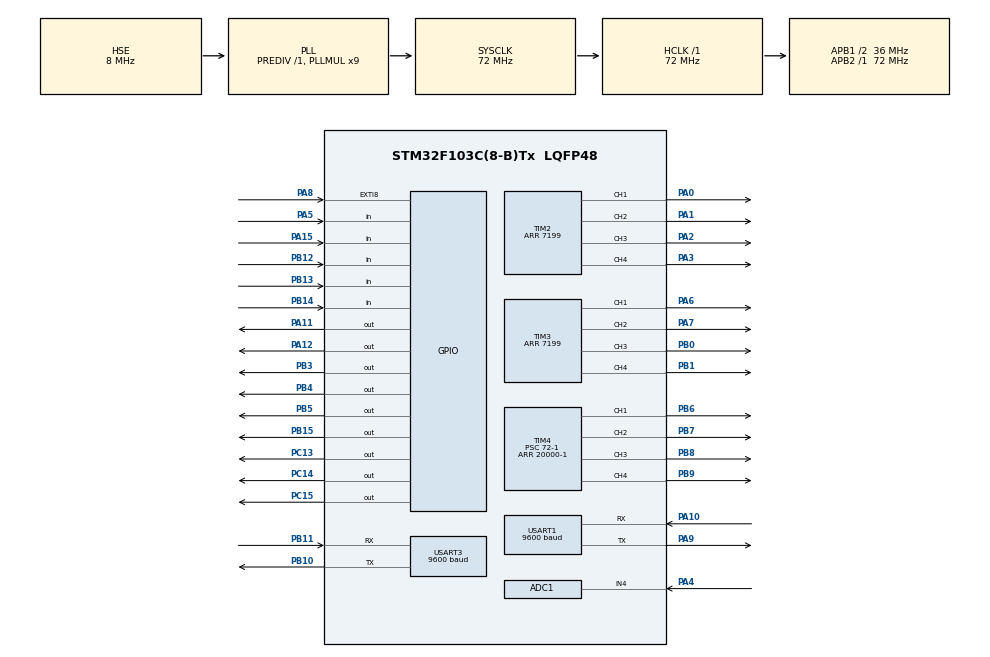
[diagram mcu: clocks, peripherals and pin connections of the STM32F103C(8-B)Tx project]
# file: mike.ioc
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ADC1.Channel-2\#ChannelRegularConversion=ADC_CHANNEL_4
ADC1.NbrOfConversionFlag=1
ADC1.Rank-2\#ChannelRegularConversion=1
ADC1.SamplingTime-2\#ChannelRegularConversion=ADC_SAMPLETIME_1CYCLE_5
ADC1.master=1
Dma.ADC1.2.Direction=DMA_PERIPH_TO_MEMORY
Dma.ADC1.2.Instance=DMA1_Channel1
Dma.ADC1.2.MemDataAlignment=DMA_MDATAALIGN_HALFWORD
Dma.ADC1.2.MemInc=DMA_MINC_ENABLE
Dma.ADC1.2.Mode=DMA_NORMAL
Dma.ADC1.2.PeriphDataAlignment=DMA_PDATAALIGN_HALFWORD
Dma.ADC1.2.PeriphInc=DMA_PINC_DISABLE
Dma.ADC1.2.Priority=DMA_PRIORITY_LOW
Dma.Request0=USART3_RX
Dma.Request1=USART3_TX
Dma.Request2=ADC1
Dma.Request3=USART1_RX
Dma.Request4=USART1_TX
Dma.USART1_RX.3.Direction=DMA_PERIPH_TO_MEMORY
Dma.USART1_RX.3.Instance=DMA1_Channel5
Dma.USART1_RX.3.MemDataAlignment=DMA_MDATAALIGN_BYTE
Dma.USART1_RX.3.MemInc=DMA_MINC_ENABLE
Dma.USART1_RX.3.Mode=DMA_NORMAL
Dma.USART1_RX.3.PeriphDataAlignment=DMA_PDATAALIGN_BYTE
Dma.USART1_RX.3.PeriphInc=DMA_PINC_DISABLE
Dma.USART1_RX.3.Priority=DMA_PRIORITY_LOW
Dma.USART1_TX.4.Direction=DMA_MEMORY_TO_PERIPH
Dma.USART1_TX.4.Instance=DMA1_Channel4
Dma.USART1_TX.4.MemDataAlignment=DMA_MDATAALIGN_BYTE
Dma.USART1_TX.4.MemInc=DMA_MINC_ENABLE
Dma.USART1_TX.4.Mode=DMA_NORMAL
Dma.USART1_TX.4.PeriphDataAlignment=DMA_PDATAALIGN_BYTE
Dma.USART1_TX.4.PeriphInc=DMA_PINC_DISABLE
Dma.USART1_TX.4.Priority=DMA_PRIORITY_LOW
Dma.USART3_RX.0.Direction=DMA_PERIPH_TO_MEMORY
Dma.USART3_RX.0.Instance=DMA1_Channel3
Dma.USART3_RX.0.MemDataAlignment=DMA_MDATAALIGN_BYTE
Dma.USART3_RX.0.MemInc=DMA_MINC_ENABLE
Dma.USART3_RX.0.Mode=DMA_NORMAL
Dma.USART3_RX.0.PeriphDataAlignment=DMA_PDATAALIGN_BYTE
Dma.USART3_RX.0.PeriphInc=DMA_PINC_DISABLE
Dma.USART3_RX.0.Priority=DMA_PRIORITY_VERY_HIGH
Dma.USART3_TX.1.Direction=DMA_MEMORY_TO_PERIPH
Dma.USART3_TX.1.Instance=DMA1_Channel2
Dma.USART3_TX.1.MemDataAlignment=DMA_MDATAALIGN_BYTE
Dma.USART3_TX.1.MemInc=DMA_MINC_ENABLE
Dma.USART3_TX.1.Mode=DMA_NORMAL
Dma.USART3_TX.1.PeriphDataAlignment=DMA_PDATAALIGN_BYTE
Dma.USART3_TX.1.PeriphInc=DMA_PINC_DISABLE
Dma.USART3_TX.1.Priority=DMA_PRIORITY_VERY_HIGH
FREERTOS.Tasks01=Task200hz,1,128,Start200hzTask,As weak,NULL,Dynamic,NULL,NULL;Task100hz,0,128,StartTask100hz,As weak,NULL,Dynamic,NULL,NULL;Task10hz,-3,128,StartTask10hz,As weak,NULL,Dynamic,NULL,NULL;Task_interactio,-3,128,Start_interaction,As weak,NULL,Dynamic,NULL,NULL
Mcu.Family=STM32F1
Mcu.Name=STM32F103C(8-B)Tx
Mcu.Package=LQFP48
NVIC.DMA1_Channel1_IRQn=true\:5\:0\:false\:false\:true\:true\:false\:true\:true
NVIC.DMA1_Channel2_IRQn=true\:5\:0\:false\:false\:true\:true\:false\:true\:true
NVIC.DMA1_Channel3_IRQn=true\:5\:0\:false\:false\:true\:true\:false\:true\:true
NVIC.DMA1_Channel4_IRQn=true\:5\:0\:false\:false\:true\:true\:false\:true\:true
NVIC.DMA1_Channel5_IRQn=true\:5\:0\:false\:false\:true\:true\:false\:true\:true
NVIC.EXTI9_5_IRQn=true\:5\:0\:false\:false\:true\:true\:true\:true\:true
NVIC.PriorityGroup=NVIC_PRIORITYGROUP_4
NVIC.TIM1_UP_IRQn=true\:0\:0\:false\:false\:true\:false\:false\:true\:true
NVIC.TIM4_IRQn=true\:5\:0\:false\:false\:true\:true\:true\:true\:true
NVIC.TimeBase=TIM1_UP_IRQn
NVIC.TimeBaseIP=TIM1
NVIC.USART1_IRQn=true\:5\:0\:false\:false\:true\:true\:true\:true\:true
NVIC.USART3_IRQn=true\:5\:0\:false\:false\:true\:true\:true\:true\:true
PA0-WKUP.GPIO_ModeDefaultPP=GPIO_MODE_AF_PP
PA0-WKUP.Signal=S_TIM2_CH1_ETR
PA1.Signal=S_TIM2_CH2
PA10.Mode=Asynchronous
PA10.Signal=USART1_RX
PA11.Signal=GPIO_Output
PA12.Signal=GPIO_Output
PA13.Mode=Serial_Wire
PA13.Signal=SYS_JTMS-SWDIO
PA14.Mode=Serial_Wire
PA14.Signal=SYS_JTCK-SWCLK
PA15.Signal=GPIO_Input
PA2.Signal=S_TIM2_CH3
PA3.Signal=S_TIM2_CH4
PA4.Signal=ADCx_IN4
PA5.Signal=GPIO_Input
PA6.Signal=S_TIM3_CH1
PA7.Signal=S_TIM3_CH2
PA8.GPIO_ModeDefaultEXTI=GPIO_MODE_IT_RISING_FALLING
PA8.Signal=GPXTI8
PA9.Mode=Asynchronous
PA9.Signal=USART1_TX
PB0.Signal=S_TIM3_CH3
PB1.Signal=S_TIM3_CH4
PB10.Mode=Asynchronous
PB10.Signal=USART3_TX
PB11.Mode=Asynchronous
PB11.Signal=USART3_RX
PB12.Signal=GPIO_Input
PB13.Signal=GPIO_Input
PB14.Signal=GPIO_Input
PB15.Signal=GPIO_Output
PB3.Signal=GPIO_Output
PB4.Signal=GPIO_Output
PB5.Signal=GPIO_Output
PB6.Signal=S_TIM4_CH1
PB7.Signal=S_TIM4_CH2
PB8.Signal=S_TIM4_CH3
PB9.Signal=S_TIM4_CH4
PC13-TAMPER-RTC.Signal=GPIO_Output
PC14-OSC32_IN.Signal=GPIO_Output
PC15-OSC32_OUT.Signal=GPIO_Output
PD0-OSC_IN.Mode=HSE-External-Oscillator
PD0-OSC_IN.Signal=RCC_OSC_IN
PD1-OSC_OUT.Mode=HSE-External-Oscillator
PD1-OSC_OUT.Signal=RCC_OSC_OUT
ProjectManager.HeapSize=0x200
ProjectManager.StackSize=0x400
ProjectManager.TargetToolchain=MDK-ARM V5.27
RCC.ADCPresc=RCC_ADCPCLK2_DIV6
RCC.AHBFreq_Value=72000000
RCC.APB1CLKDivider=RCC_HCLK_DIV2
RCC.APB1Freq_Value=36000000
RCC.APB1TimFreq_Value=72000000
RCC.APB2Freq_Value=72000000
RCC.APB2TimFreq_Value=72000000
RCC.HCLKFreq_Value=72000000
RCC.PLLMUL=RCC_PLL_MUL9
RCC.PLLSourceVirtual=RCC_PLLSOURCE_HSE
RCC.SYSCLKFreq_VALUE=72000000
RCC.SYSCLKSource=RCC_SYSCLKSOURCE_PLLCLK
RCC.USBFreq_Value=72000000
SH.ADCx_IN4.0=ADC1_IN4,IN4
SH.S_TIM2_CH1_ETR.0=TIM2_CH1,PWM Generation1 CH1
SH.S_TIM2_CH2.0=TIM2_CH2,PWM Generation2 CH2
SH.S_TIM2_CH3.0=TIM2_CH3,PWM Generation3 CH3
SH.S_TIM2_CH4.0=TIM2_CH4,PWM Generation4 CH4
SH.S_TIM3_CH1.0=TIM3_CH1,PWM Generation1 CH1
SH.S_TIM3_CH2.0=TIM3_CH2,PWM Generation2 CH2
SH.S_TIM3_CH3.0=TIM3_CH3,PWM Generation3 CH3
SH.S_TIM3_CH4.0=TIM3_CH4,PWM Generation4 CH4
SH.S_TIM4_CH1.0=TIM4_CH1,PWM Generation1 CH1
SH.S_TIM4_CH2.0=TIM4_CH2,PWM Generation2 CH2
SH.S_TIM4_CH3.0=TIM4_CH3,PWM Generation3 CH3
SH.S_TIM4_CH4.0=TIM4_CH4,PWM Generation4 CH4
TIM2.Channel-PWM\ Generation1\ CH1=TIM_CHANNEL_1
TIM2.Channel-PWM\ Generation2\ CH2=TIM_CHANNEL_2
TIM2.Channel-PWM\ Generation3\ CH3=TIM_CHANNEL_3
TIM2.Channel-PWM\ Generation4\ CH4=TIM_CHANNEL_4
TIM2.Period=7199
TIM3.Channel-PWM\ Generation1\ CH1=TIM_CHANNEL_1
TIM3.Channel-PWM\ Generation2\ CH2=TIM_CHANNEL_2
TIM3.Channel-PWM\ Generation3\ CH3=TIM_CHANNEL_3
TIM3.Channel-PWM\ Generation4\ CH4=TIM_CHANNEL_4
TIM3.Period=7199
TIM4.AutoReloadPreload=TIM_AUTORELOAD_PRELOAD_DISABLE
TIM4.Channel-PWM\ Generation1\ CH1=TIM_CHANNEL_1
TIM4.Channel-PWM\ Generation2\ CH2=TIM_CHANNEL_2
TIM4.Channel-PWM\ Generation3\ CH3=TIM_CHANNEL_3
TIM4.Channel-PWM\ Generation4\ CH4=TIM_CHANNEL_4
TIM4.Period=20000-1
TIM4.Prescaler=72-1
TIM4.Pulse-PWM\ Generation3\ CH3=0
TIM4.Pulse-PWM\ Generation4\ CH4=0
USART1.BaudRate=9600
USART1.VirtualMode=VM_ASYNC
USART3.BaudRate=9600
USART3.VirtualMode=VM_ASYNC
VP_FREERTOS_VS_CMSIS_V1.Mode=CMSIS_V1
VP_SYS_VS_tim1.Mode=TIM1
board=custom

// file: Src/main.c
/* USER CODE BEGIN Header */
/**
 ******************************************************************************
 * @file           : main.c
 * @brief          : Main program body
 ******************************************************************************
 * @attention
 *
 * <h2><center>&copy; Copyright (c) 2022 STMicroelectronics.
 * All rights reserved.</center></h2>
 *
 * This software component is licensed by ST under BSD 3-Clause license,
 * the "License"; You may not use this file except in compliance with the
 * License. You may obtain a copy of the License at:
 *                        opensource.org/licenses/BSD-3-Clause
 *
 ******************************************************************************
 */
/* USER CODE END Header */
#include "main.h"
#include "cmsis_os.h"
#include "adc.h"
#include "dma.h"
#include "tim.h"
#include "usart.h"
#include "gpio.h"

/* USER CODE BEGIN Includes */
#include "math.h"
#include "contrl.h"
#include "stdio.h"
#include "delay.h"
#include "CAR_TASK.h"
#include "my_usart.h"
#include "echo.h"
#include "stm32f1xx_hal_tim.h"
/* USER CODE END Includes */

/* USER CODE BEGIN PTD */
#define BT_edit 0
/* USER CODE END PTD */

void SystemClock_Config(void);
void MX_FREERTOS_Init(void);

/* USER CODE BEGIN 0 */
int fputc(int ch, FILE *fp)
{
  while (!(USART3->SR & (1 << 7)))
    ;

  USART3->DR = ch;
  return ch;
}
/**
 * 函数功能: 重定向c库函数getchar,scanf到DEBUG_USARTx
 * 输入参数: 无
 * 返 回 值: 无
 * 说    明：无
 */
int fgetc(FILE *f)
{
  uint8_t ch = 0;
  HAL_UART_Receive(&huart3, &ch, 1, 0xffff);
  return ch;
}
/* USER CODE END 0 */

int main(void)
{

  /* MCU Configuration--------------------------------------------------------*/

  /* Reset of all peripherals, Initializes the Flash interface and the Systick. */
  HAL_Init();

  /* Configure the system clock */
  SystemClock_Config();

  /* Initialize all configured peripherals */
  MX_GPIO_Init();
  MX_DMA_Init();
  MX_TIM2_Init();
  MX_TIM3_Init();
  MX_TIM4_Init();
  MX_USART3_UART_Init();
  MX_ADC1_Init();
  MX_USART1_UART_Init();
  /* USER CODE BEGIN 2 */

  if (BT_edit)
  { // at指令修改蓝牙模块（购买成品板子的这里已经配置好了）
    UART_HandleTypeDef huart3;
    huart3.Instance = USART3;
    huart3.Init.BaudRate = 115200; //修改蓝牙波特率，原始值115200，出厂设置是9600
    huart3.Init.WordLength = UART_WORDLENGTH_8B;
    huart3.Init.StopBits = UART_STOPBITS_1;
    huart3.Init.Parity = UART_PARITY_NONE;
    huart3.Init.Mode = UART_MODE_TX_RX;
    huart3.Init.HwFlowCtl = UART_HWCONTROL_NONE;
    huart3.Init.OverSampling = UART_OVERSAMPLING_16;
    if (HAL_UART_Init(&huart3) != HAL_OK)
    {
      Error_Handler();
    }
    printf("Eenter bluetooth at mode!\n");
    HAL_Delay(1000);
    HAL_GPIO_WritePin(GPIOB, GPIO_PIN_15, GPIO_PIN_SET);
    HAL_Delay(90);
    HAL_GPIO_WritePin(GPIOB, GPIO_PIN_15, GPIO_PIN_RESET);
    HAL_Delay(1000);
    //			printf("AT+VER=?\r\n");
    //			HAL_Delay(1000);
    printf("AT+NAME=HF_mike1\r\n"); // 修改名字
    HAL_Delay(1000);
    printf("AT+REBOOT=1\r\n");
    HAL_Delay(1000);

    HAL_GPIO_WritePin(GPIOB, GPIO_PIN_15, GPIO_PIN_SET);
    HAL_Delay(90);
    HAL_GPIO_WritePin(GPIOB, GPIO_PIN_15, GPIO_PIN_RESET);
    HAL_Delay(1000);
    printf("AT+RFPOWER=10\r\n"); // 修改功率
    HAL_Delay(200);
    printf("AT+REBOOT=1\r\n");
    HAL_Delay(1000);

    HAL_GPIO_WritePin(GPIOB, GPIO_PIN_15, GPIO_PIN_SET);
    HAL_Delay(90);
    HAL_GPIO_WritePin(GPIOB, GPIO_PIN_15, GPIO_PIN_RESET);
    HAL_Delay(1000);
    printf("AT+BAND=9600\r\n"); // 修改波特率
    HAL_Delay(1000);
    printf("AT+REBOOT=1\r\n");
    HAL_Delay(1000);
    //			printf("AT+TS=1\r\n");
    //			HAL_Delay(1000);
    huart3.Init.BaudRate = 9600;
    if (HAL_UART_Init(&huart3) != HAL_OK)
    {
      Error_Handler();
    }

    printf("End.\n");
    while (1)
    {
      printf("ok.\n");
    }
  }

  // 初始化接收结构体
  User_USART_Init(&BT_Data);
  // 加入DMA空闲中断
  __HAL_UART_ENABLE_IT(&huart3, UART_IT_IDLE);
  HAL_UART_Receive_DMA(&huart3, BT_Data.RxBuffer, RXBUFFER_LEN);

		//初始化接收结构体
	myData_Init(&myData);
	// 加入DMA空闲中断
	__HAL_UART_ENABLE_IT(&huart1,UART_IT_IDLE);
	HAL_UART_Receive_DMA(&huart1,myData.RxBuffer,RXBUFFER_LEN);

  HAL_TIM_PWM_Start(&htim3, TIM_CHANNEL_1);
  HAL_TIM_PWM_Start(&htim3, TIM_CHANNEL_2);
  HAL_TIM_PWM_Start(&htim3, TIM_CHANNEL_3);
  HAL_TIM_PWM_Start(&htim3, TIM_CHANNEL_4);
  HAL_TIM_PWM_Start(&htim2, TIM_CHANNEL_1);
  HAL_TIM_PWM_Start(&htim2, TIM_CHANNEL_2);
  HAL_TIM_PWM_Start(&htim2, TIM_CHANNEL_3);
  HAL_TIM_PWM_Start(&htim2, TIM_CHANNEL_4);
  Set_PWM(0, 0, 0, 0);
  // 开启舵机的pwm
  HAL_TIM_PWM_Start(&htim4, TIM_CHANNEL_1);
  HAL_TIM_PWM_Start(&htim4, TIM_CHANNEL_2);
  HAL_TIM_PWM_Start(&htim4, TIM_CHANNEL_3);
  HAL_TIM_PWM_Start(&htim4, TIM_CHANNEL_4);
  HAL_TIM_Base_Start_IT(&htim4);

  printf("Hello,this is HF's m4 car.\n");
  /* USER CODE END 2 */

  /* Call init function for freertos objects (in cmsis_os2.c) */
  MX_FREERTOS_Init();

  /* Start scheduler */
  osKernelStart();

  /* We should never get here as control is now taken by the scheduler */

  /* Infinite loop */
  while (1)
  {

  }
}

void SystemClock_Config(void)
{
  RCC_OscInitTypeDef RCC_OscInitStruct = {0};
  RCC_ClkInitTypeDef RCC_ClkInitStruct = {0};
  RCC_PeriphCLKInitTypeDef PeriphClkInit = {0};

  /** Initializes the RCC Oscillators according to the specified parameters
  * in the RCC_OscInitTypeDef structure.
  */
  RCC_OscInitStruct.OscillatorType = RCC_OSCILLATORTYPE_HSE;
  RCC_OscInitStruct.HSEState = RCC_HSE_ON;
  RCC_OscInitStruct.HSEPredivValue = RCC_HSE_PREDIV_DIV1;
  RCC_OscInitStruct.HSIState = RCC_HSI_ON;
  RCC_OscInitStruct.PLL.PLLState = RCC_PLL_ON;
  RCC_OscInitStruct.PLL.PLLSource = RCC_PLLSOURCE_HSE;
  RCC_OscInitStruct.PLL.PLLMUL = RCC_PLL_MUL9;
  if (HAL_RCC_OscConfig(&RCC_OscInitStruct) != HAL_OK)
  {
    Error_Handler();
  }

  /** Initializes the CPU, AHB and APB buses clocks
  */
  RCC_ClkInitStruct.ClockType = RCC_CLOCKTYPE_HCLK|RCC_CLOCKTYPE_SYSCLK
                              |RCC_CLOCKTYPE_PCLK1|RCC_CLOCKTYPE_PCLK2;
  RCC_ClkInitStruct.SYSCLKSource = RCC_SYSCLKSOURCE_PLLCLK;
  RCC_ClkInitStruct.AHBCLKDivider = RCC_SYSCLK_DIV1;
  RCC_ClkInitStruct.APB1CLKDivider = RCC_HCLK_DIV2;
  RCC_ClkInitStruct.APB2CLKDivider = RCC_HCLK_DIV1;

  if (HAL_RCC_ClockConfig(&RCC_ClkInitStruct, FLASH_LATENCY_2) != HAL_OK)
  {
    Error_Handler();
  }
  PeriphClkInit.PeriphClockSelection = RCC_PERIPHCLK_ADC;
  PeriphClkInit.AdcClockSelection = RCC_ADCPCLK2_DIV6;
  if (HAL_RCCEx_PeriphCLKConfig(&PeriphClkInit) != HAL_OK)
  {
    Error_Handler();
  }
}

void HAL_TIM_PeriodElapsedCallback(TIM_HandleTypeDef *htim)
{
  if (htim->Instance == TIM1) {
    HAL_IncTick();
  }
}

void Error_Handler(void)
{
}

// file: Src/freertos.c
/* USER CODE BEGIN Header */
/**
  ******************************************************************************
  * File Name          : freertos.c
  * Description        : Code for freertos applications
  ******************************************************************************
  * @attention
  *
  * <h2><center>&copy; Copyright (c) 2022 STMicroelectronics.
  * All rights reserved.</center></h2>
  *
  * This software component is licensed by ST under Ultimate Liberty license
  * SLA0044, the "License"; You may not use this file except in compliance with
  * the License. You may obtain a copy of the License at:
  *                             www.st.com/SLA0044
  *
  ******************************************************************************
  */
/* USER CODE END Header */

#include "FreeRTOS.h"
#include "task.h"
#include "main.h"
#include "cmsis_os.h"

/* USER CODE BEGIN Includes */
#include "CAR_TASK.h"
#include "stdio.h"
#include "echo.h"
#include "mpu6050.h"
#include "inv_mpu.h"
#include "tim.h"
#include "dma.h"
#include "oled.h"
#include "contrl.h"
/* USER CODE END Includes */

osThreadId Task200hzHandle;
osThreadId Task100hzHandle;
osThreadId Task10hzHandle;
osThreadId Task_interactioHandle;

void Start200hzTask(void const * argument);
void StartTask100hz(void const * argument);
void StartTask10hz(void const * argument);
void Start_interaction(void const * argument);

void MX_FREERTOS_Init(void); /* (MISRA C 2004 rule 8.1) */

/* GetIdleTaskMemory prototype (linked to static allocation support) */
void vApplicationGetIdleTaskMemory( StaticTask_t **ppxIdleTaskTCBBuffer, StackType_t **ppxIdleTaskStackBuffer, uint32_t *pulIdleTaskStackSize );

/* USER CODE BEGIN GET_IDLE_TASK_MEMORY */
static StaticTask_t xIdleTaskTCBBuffer;
static StackType_t xIdleStack[configMINIMAL_STACK_SIZE];

void vApplicationGetIdleTaskMemory( StaticTask_t **ppxIdleTaskTCBBuffer, StackType_t **ppxIdleTaskStackBuffer, uint32_t *pulIdleTaskStackSize )
{
    *ppxIdleTaskTCBBuffer = &xIdleTaskTCBBuffer;
    *ppxIdleTaskStackBuffer = &xIdleStack[0];
    *pulIdleTaskStackSize = configMINIMAL_STACK_SIZE;
    /* place for user code */
}
/* USER CODE END GET_IDLE_TASK_MEMORY */

void MX_FREERTOS_Init(void) {

  /* Create the thread(s) */
  /* definition and creation of Task200hz */
  osThreadDef(Task200hz, Start200hzTask, osPriorityAboveNormal, 0, 128);
  Task200hzHandle = osThreadCreate(osThread(Task200hz), NULL);

  /* definition and creation of Task100hz */
  osThreadDef(Task100hz, StartTask100hz, osPriorityNormal, 0, 128);
  Task100hzHandle = osThreadCreate(osThread(Task100hz), NULL);

  /* definition and creation of Task10hz */
  osThreadDef(Task10hz, StartTask10hz, osPriorityIdle, 0, 128);
  Task10hzHandle = osThreadCreate(osThread(Task10hz), NULL);

  /* definition and creation of Task_interactio */
  osThreadDef(Task_interactio, Start_interaction, osPriorityIdle, 0, 128);
  Task_interactioHandle = osThreadCreate(osThread(Task_interactio), NULL);

}

__weak void Start200hzTask(void const * argument)
{
  /* USER CODE BEGIN Start200hzTask */
		vTaskSuspendAll() ;

		OLED_Init();
	  OLED_CLS();
		OLED_ShowStr (1,1,"mpu init--",2);
		int cnt = 100;
    while(mpu_dmp_init()&&cnt>0) {//
			printf("mpu init %d\n",cnt);
			cnt--;
		}
		if(cnt == 0){//mpu��ʼ��ʧ��
			OLED_ShowStr (1,3,"mpu err",2);
			while(1){//��ѭ��
				printf("mpu init err");
			}
		}
		OLED_ShowStr (1,3,"mpu ok",2);
		printf("200HZ start\n");
		delay_ms(50);
		OLED_ShowStr (1,3,"m4car start",2);
		OLED_CLS();
		OLED_ShowStr (1,1,"powered by",2);
		OLED_ShowStr (35,3,"HF",2);
		delay_ms(200);

		xTaskResumeAll() ;
    /* Infinite loop */
    for(;;)
    {
			vTaskSuspendAll() ;//�ٽ���뱣����ʼ
			Car_Task_200HZ();
			xTaskResumeAll() ; //�ٽ���뱣������
        osDelay(5);
    }
  /* USER CODE END Start200hzTask */
}

__weak void StartTask100hz(void const * argument)
{
  /* USER CODE BEGIN StartTask100hz */
    /* Infinite loop */
    for(;;)
    {
			  Car_Task_100HZ();
        osDelay(10);
    }
  /* USER CODE END StartTask100hz */
}

__weak void StartTask10hz(void const * argument)
{
  /* USER CODE BEGIN StartTask10hz */
    /* Infinite loop */
    for(;;)
    {
			 Car_Task_10HZ();
        osDelay(100);
    }
  /* USER CODE END StartTask10hz */
}

__weak void Start_interaction(void const * argument)
{
  /* USER CODE BEGIN Start_interaction */
	vTaskSuspendAll() ;
	Car_Task_Interaction_begin();
	xTaskResumeAll() ; //�ٽ���뱣������
    /* Infinite loop */
    for(;;)
    {
			vTaskSuspendAll() ;//�ٽ���뱣����ʼ
			Car_Task_Interaction();
			xTaskResumeAll() ; //�ٽ���뱣������
        osDelay(100);
    }
  /* USER CODE END Start_interaction */
}
